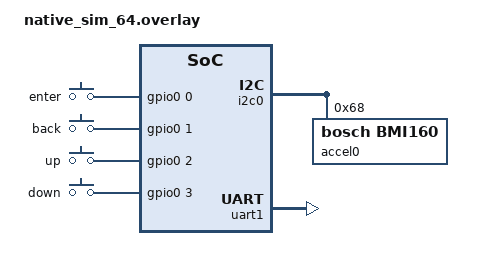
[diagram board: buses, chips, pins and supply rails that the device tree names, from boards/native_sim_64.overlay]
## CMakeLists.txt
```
#
# Copyright (c) 2025 Nordic Semiconductor ASA
#
# SPDX-License-Identifier: LicenseRef-Nordic-5-Clause
#

cmake_minimum_required(VERSION 3.20.0)
find_package(Zephyr REQUIRED HINTS $ENV{ZEPHYR_BASE})
project(app)

add_subdirectory(src/applications)
add_subdirectory(src/drivers)
add_subdirectory(src/events)
add_subdirectory(src/images)
add_subdirectory(src/managers)
add_subdirectory(src/sensors)
add_subdirectory(src/ui)

include_directories(src)
include_directories(src/ui)
include_directories(src/applications)
include_directories(src/drivers)
include_directories(src/managers)
include_directories(src/events)
include_directories(src/sensors)

target_sources(app PRIVATE 
    src/main.c
    src/ui/app_menu/app_menu.c
    src/ui/app_menu/app_menu_ui.c
)

# Needed for compiling images
add_compile_definitions(LV_LVGL_H_INCLUDE_SIMPLE)
```

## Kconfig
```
# ZSWatch board configuration

# Copyright (c) 2025 ZSWatch Project
# SPDX-License-Identifier: Apache-2.0

menu "Zephyr Kernel"
    source "Kconfig.zephyr"
endmenu

menu "Tiny Ambient Tracker"
    rsource "src/applications/Kconfig"
    rsource "src/managers/Kconfig"
    rsource "src/sensors/Kconfig"
    rsource "src/ui/Kconfig"
endmenu
```

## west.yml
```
manifest:
  remotes:
    - name: nrf
      url-base: https://github.com/nrfconnect
  projects:
    - name: sdk-nrf
      remote: nrf
      path: nrf
      revision: v3.2.4
      import:
        path-prefix: external
        name-blocklist:
          - hal_altera
          - hal_cypress
          - hal_infineon
          - hal_microchip
          - hal_nxp
          - hal_openisa
          - hal_silabs
          - hal_ti
          - hal_xtensa
      clone-depth: 1
```

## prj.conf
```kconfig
CONFIG_SYSTEM_WORKQUEUE_STACK_SIZE=8192

CONFIG_GPIO=y
CONFIG_I2C=y
CONFIG_SENSOR=y

# Flash options
CONFIG_FLASH=y
CONFIG_FLASH_MAP=y
CONFIG_MPU_ALLOW_FLASH_WRITE=y
CONFIG_FLASH_PAGE_LAYOUT=y
CONFIG_STREAM_FLASH=y
CONFIG_STREAM_FLASH_ERASE=y
CONFIG_FLASH_MAP_LABELS=y

# Always assert, defensive programming
CONFIG_ASSERT=y
CONFIG_ASSERT_VERBOSE=n

# Logging and shell configuration
CONFIG_LOG=y
CONFIG_LOG_MODE_DEFERRED=y
CONFIG_LOG_BACKEND_SHOW_COLOR=y
CONFIG_SHELL=y
CONFIG_CBPRINTF_FP_SUPPORT=y

# zbus configuration
CONFIG_ZBUS=y
CONFIG_ZBUS_RUNTIME_OBSERVERS=y
CONFIG_ZBUS_CHANNEL_NAME=y
CONFIG_ZBUS_OBSERVER_NAME=y
CONFIG_ZBUS_CHANNELS_SYS_INIT_PRIORITY=1

# Display and user interaction configuration
CONFIG_DISPLAY=y
CONFIG_INPUT=y

# LVGL configuration
CONFIG_LVGL=y
CONFIG_LV_USE_OBJ_ID=y
CONFIG_LV_USE_OBJ_NAME=y
CONFIG_LV_USE_OBJ_ID_BUILTIN=y
CONFIG_LV_USE_OBSERVER=y
CONFIG_LV_Z_SHELL=y
CONFIG_LV_Z_MEM_POOL_SIZE=81920

# Tell LVGL to use a monochrome style for GUI
CONFIG_LV_USE_THEME_MONO=y

# LVGL Fonts
CONFIG_LV_FONT_MONTSERRAT_12=y
CONFIG_LV_FONT_MONTSERRAT_14=y
CONFIG_LV_FONT_MONTSERRAT_16=y
CONFIG_LV_FONT_MONTSERRAT_18=y
CONFIG_LV_FONT_MONTSERRAT_24=y

# Enabled settings backend, define the backend to use in
# the specific board .conf file
CONFIG_SETTINGS=y
```

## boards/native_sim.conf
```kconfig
CONFIG_EMUL=y
CONFIG_GPIO_EMUL=y
CONFIG_I2C_EMUL=y
CONFIG_EMUL_BMI160=y
CONFIG_CBPRINTF_FP_SUPPORT=y
```

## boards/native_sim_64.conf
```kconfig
CONFIG_EMUL=y
CONFIG_GPIO_EMUL=y
CONFIG_I2C_EMUL=y
CONFIG_FLASH_SIMULATOR=y

#CONFIG_SDL_DISPLAY_ZOOM_PCT=200

# For simulating a monochrome display
CONFIG_LV_COLOR_DEPTH_1=y
CONFIG_LV_Z_BITS_PER_PIXEL=1
CONFIG_SDL_DISPLAY_DEFAULT_PIXEL_FORMAT_MONO10=y

# Set the main logging level to print everything except debug
CONFIG_LOG_DEFAULT_LEVEL=3
# Set the local logging configuration to print everything
CONFIG_TAT_APPLICATIONS_LOG_LEVEL_DBG=y
CONFIG_TAT_MANAGERS_LOG_LEVEL_DBG=y
CONFIG_TAT_SENSORS_LOG_LEVEL_DBG=y
CONFIG_TAT_UI_LOG_LEVEL_DBG=y

# For LVGL debugging
CONFIG_LV_USE_LOG=y
CONFIG_LV_LOG_LEVEL_ERROR=y
#CONFIG_INPUT_EVENT_DUMP=y

# For simulating a color display
#CONFIG_LV_COLOR_DEPTH_32=y

# Define backend for settings to use
CONFIG_NVS=y
```

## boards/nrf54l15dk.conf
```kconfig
# Setup the shell to use Segger RTT
CONFIG_USE_SEGGER_RTT=y
CONFIG_SHELL_BACKEND_RTT=y
CONFIG_SHELL_BACKEND_SERIAL=y
```

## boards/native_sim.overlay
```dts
&i2c0 {
    accel0: accel@68 {
        compatible = "bosch,bmi160";
        reg = <0x68>;
    };
};
```

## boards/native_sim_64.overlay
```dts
#include <zephyr/dt-bindings/input/input-event-codes.h>
#include <zephyr/dt-bindings/lvgl/lvgl.h>

/ {
    chosen {
        zephyr,console = &uart0;
        zephyr,shell-uart = &uart1;
        zephyr,display = &sdl_dc;
    };
};

// Map "Enter, Backspace, Arrow down and Arrow up" to gpio
// Check https://docs.zephyrproject.org/latest/build/dts/api/bindings/gpio/zephyr,gpio-emul-sdl.html for additional informations
&gpio0 {
    ngpios = <4>;

    sdl_gpio {
        compatible = "zephyr,gpio-emul-sdl";
        scancodes = <40 42 81 82>;
    };
};

/ {
    buttons: buttons {
        compatible = "gpio-keys";
        //polling-mode; // Use polling, as none polling generates at boot buttons releases for each button. Which is not desired. Maybe a bug in Zephyr?

        key1: key1 {
            label = "enter";
            gpios = <&gpio0 0 GPIO_ACTIVE_HIGH>;
            zephyr,code = <INPUT_KEY_1>;
        };
        key2: key2 {
            label = "back";
            gpios = <&gpio0 1 GPIO_ACTIVE_HIGH>;
            zephyr,code = <INPUT_KEY_2>;
        };
        key3: key3 {
            label = "up";
            gpios = <&gpio0 2 GPIO_ACTIVE_HIGH>;
            zephyr,code = <INPUT_KEY_3>;
        };
        key4: key4 {
            label = "down";
            gpios = <&gpio0 3 GPIO_ACTIVE_HIGH>;
            zephyr,code = <INPUT_KEY_4>;
        };
    };
};

&i2c0 {
    accel0: accel@68 {
        compatible = "bosch,bmi160";
        reg = <0x68>;
    };
};

&uart1 {
    status = "okay";
};

// Emulates the display of LS013B7DH05 display
&sdl_dc {
	compatible = "zephyr,sdl-dc";
	height = <144>;
	width = <168>;
};
```

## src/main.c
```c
/*
 * Copyright (c) 2016 Intel Corporation
 *
 * SPDX-License-Identifier: Apache-2.0
 */

#include <stdio.h>
#include <zephyr/kernel.h>
#include <zephyr/device.h>
#include <zephyr/logging/log.h>
#include <zephyr/shell/shell.h>

#include "drivers/tat_display_control.h"
#include "sensors/tat_co2_sensor.h"
#include "ui/tat_ui_controller.h"

LOG_MODULE_REGISTER(main);

static void run_init_work(struct k_work *item);

K_WORK_DEFINE(init_work, run_init_work);

// The init code requires a bit of stack.
// So in order to not increase CONFIG_MAIN_STACK_SIZE and loose
// this RAM forever, instead re-use the system workqueue for init
// it has the required amount of stack.
static void run_init_work(struct k_work *item)
{
	int ret;

	tat_display_control_init();
	tat_display_control_sleep_ctrl(true);

	//tat_test_sensor_init();
	tat_co2_sensor_init();

	tat_ui_controller_init();
	LOG_INF("tat application started!");
}

int main(void)
{
	k_work_submit(&init_work);
	
	return 0;
}
```

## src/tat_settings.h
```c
#ifndef TAT_SETTINGS_H_
#define TAT_SETTINGS_H_

#include <inttypes.h>
#include <stdbool.h>

#define TAT_SETTINGS_PATH "settings"

typedef int32_t tat_settings_sensor_period_t;
#define TAT_SETTINGS_KEY_SENSOR_PERIOD "sensor_period"
#define TAT_SETTINGS_SENSOR_PERIOD (TAT_SETTINGS_PATH "/" TAT_SETTINGS_KEY_SENSOR_PERIOD)

typedef struct {
    uint8_t screen_index;
} tat_settings_env_screen_t;
#define TAT_SETTINGS_KEY_ENV_SCREEN "env_screen"
#define TAT_SETTINGS_ENV_SCREEN (TAT_SETTINGS_PATH "/" TAT_SETTINGS_KEY_ENV_SCREEN)

typedef bool tat_settings_dark_mode_t;
#define TAT_SETTINGS_KEY_DARK_MODE "dark_mode"
#define TAT_SETTINGS_DARK_MODE (TAT_SETTINGS_PATH "/" TAT_SETTINGS_KEY_DARK_MODE)

typedef bool tat_settings_onboarding_done_t;
#define TAT_SETTINGS_KEY_ONBOARDING_DONE "onboard"
#define TAT_SETTINGS_ONBOARDING_DONE (TAT_SETTINGS_PATH "/" TAT_SETTINGS_KEY_ONBOARDING_DONE)

#endif /* TAT_SETTINGS_H_ */
```
